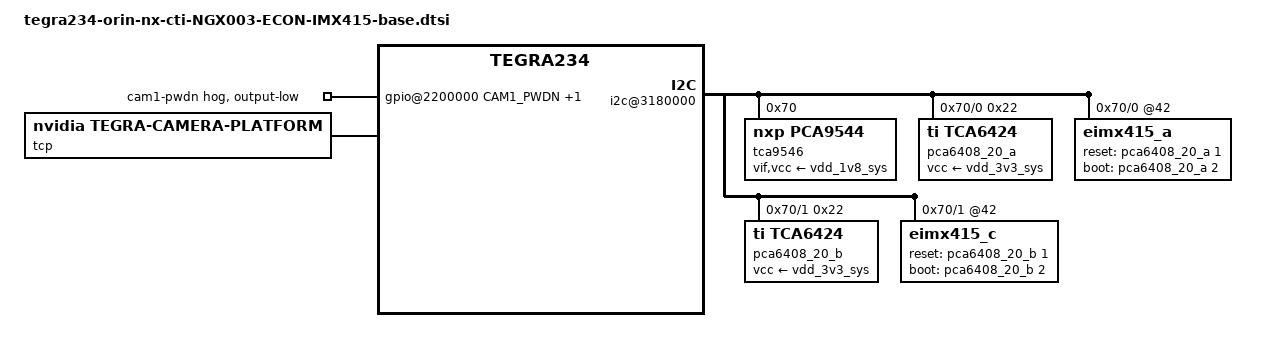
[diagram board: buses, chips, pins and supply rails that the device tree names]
/*
 * Copyright (c) 2018-2019, NVIDIA CORPORATION.  All rights reserved.
 *
 * This program is free software; you can redistribute it and/or modify
 * it under the terms of the GNU General Public License as published by
 * the Free Software Foundation; either version 2 of the License, or
 * (at your option) any later version.
 *
 * This program is distributed in the hope that it will be useful, but WITHOUT
 * ANY WARRANTY; without even the implied warranty of MERCHANTABILITY or
 * FITNESS FOR A PARTICULAR PURPOSE.  See the GNU General Public License for
 * more details.
 *
 * You should have received a copy of the GNU General Public License
 * along with this program.  If not, see <http://www.gnu.org/licenses/>.
 */
#include "tegra234-cti-camera-NGX003-ECON-IMX415-header.dtsi"
#include "tegra234-orin-nx-cti-econ-imx415-modes-header.dtsi"
#include "tegra234-cti-camera-2cam-base.dtsi"

#define CAM1_PWDN	TEGRA234_MAIN_GPIO(H, 6)
#define CAM2_PWDN   TEGRA234_MAIN_GPIO(AC, 0)

/* camera control gpio definitions */

/ {	

	gpio@2200000 {
		camera-control-output-low {
			gpio-hog;
			output-low;
			gpios = <CAM1_PWDN 0 CAM2_PWDN 0>;
			label = "cam1-pwdn", "cam2-pwdn";
		};
	};
	
	i2c@3180000 {
	    tca9546@70{
            compatible = "nxp,pca9544";
            reg = <0x70>;
            #address-cells = <1>;
            #size-cells = <0>;
            //skip_mux_detect = "yes";
            vif-supply = <&vdd_1v8_sys>; 
            vcc-supply = <&vdd_1v8_sys>; 
            vcc_lp = "vcc";

            i2c@0{
                reg = <0>;
                i2c-mux,deselect-on-exit;
                pca6408_20_a: pca6408@22 {
                    /* For onsemi GPIO expander */
                    //compatible = "nxp,pca6408";
                    compatible = "ti,tca6424";
                    gpio-controller;
                    #gpio-cells = <2>;
                    reg = <0x22>;
                    vcc-supply = <&vdd_3v3_sys>;
                    status = "okay";
                    pca6408_20_outlow {
                     /*
                                       * GPIO-0  : RST_CAM1
                       * GPIO-4  : TRIGGER_CAM1
                                       * GPIO-6  : PWDN_CAM1
                     */
                     gpio-hog;
                     gpios = <0 0 1 0 2 0 3 0 4 0 5 0 6 0 7 0 >;
                     output-low;
                     label = "pca6408_20_outlow_0",
                         "pca6408_20_outlow_1",
                         "pca6408_20_outlow_2",
                         "pca6408_20_outlow_3",
                         "pca6408_20_outlow_4",
                         "pca6408_20_outlow_5",
                         "pca6408_20_outlow_6",
                         "pca6408_20_outlow_7";
                    };
                    pca6408_20_outhigh {
                            status = "disabled";
                    };
                    pca6408_20_input {
                            status = "disabled";
                    };
                };
                eimx415_a@42 {
                        status = "okay";
                        reset-gpios = <&pca6408_20_a 1 GPIO_ACTIVE_HIGH>;
                        boot-gpios  = <&pca6408_20_a 2 GPIO_ACTIVE_HIGH>;
                        SENSOR_COMMON
                        /delete-node/ mode4;
                };
            };
            i2c@1{
                reg = <1>;
                i2c-mux,deselect-on-exit;
                pca6408_20_b: pca6408@22 {
                    /* For onsemi GPIO expander */
                    //compatible = "nxp,pca6408";
                    compatible = "ti,tca6424";
                    gpio-controller;
                    #gpio-cells = <2>;
                    reg = <0x22>;
                    vcc-supply = <&vdd_3v3_sys>;
                    status = "okay";
                    pca6408_20_outlow {
                     /*
                                       * GPIO-0  : RST_CAM1
                       * GPIO-4  : TRIGGER_CAM1
                                       * GPIO-6  : PWDN_CAM1
                     */
                     gpio-hog;
                     gpios = <0 0 1 0 2 0 3 0 4 0 5 0 6 0 7 0 >;
                     output-low;
                     label = "pca6408_20_outlow_0",
                         "pca6408_20_outlow_1",
                         "pca6408_20_outlow_2",
                         "pca6408_20_outlow_3",
                         "pca6408_20_outlow_4",
                         "pca6408_20_outlow_5",
                         "pca6408_20_outlow_6",
                         "pca6408_20_outlow_7";
                    };
                    pca6408_20_outhigh {
                            status = "disabled";
                    };
                    pca6408_20_input {
                            status = "disabled";
                    };
                };
                eimx415_c@42 {
                        status = "okay";
                        reset-gpios = <&pca6408_20_b 1 GPIO_ACTIVE_HIGH>;
                        boot-gpios  = <&pca6408_20_b 2 GPIO_ACTIVE_HIGH>;
                        SENSOR_COMMON
                        /delete-node/ mode4;
                };
            };

        };
	};
};


/ {
    tcp: tegra-camera-platform {
        compatible = "nvidia, tegra-camera-platform";

        /**
        * Physical settings to calculate max ISO BW
        *
        * num_csi_lanes = <>;
        * Total number of CSI lanes when all cameras are active
        *
        * max_lane_speed = <>;
        * Max lane speed in Kbit/s
        *
        * min_bits_per_pixel = <>;
        * Min bits per pixel
        *
        * vi_peak_byte_per_pixel = <>;
        * Max byte per pixel for the VI ISO case
        *
        * vi_bw_margin_pct = <>;
        * Vi bandwidth margin in percentage
        *
        * max_pixel_rate = <>;
        * Max pixel rate in Kpixel/s for the ISP ISO case
        *
        * isp_peak_byte_per_pixel = <>;
        * Max byte per pixel for the ISP ISO case
        *
        * isp_bw_margin_pct = <>;
        * Isp bandwidth margin in percentage
        */
        num_csi_lanes = <4>;
        max_lane_speed = <1500000>;
        min_bits_per_pixel = <10>;
        vi_peak_byte_per_pixel = <2>;
        vi_bw_margin_pct = <25>;
        max_pixel_rate = <240000>;
        isp_peak_byte_per_pixel = <5>;
        isp_bw_margin_pct = <25>;
    };
};

